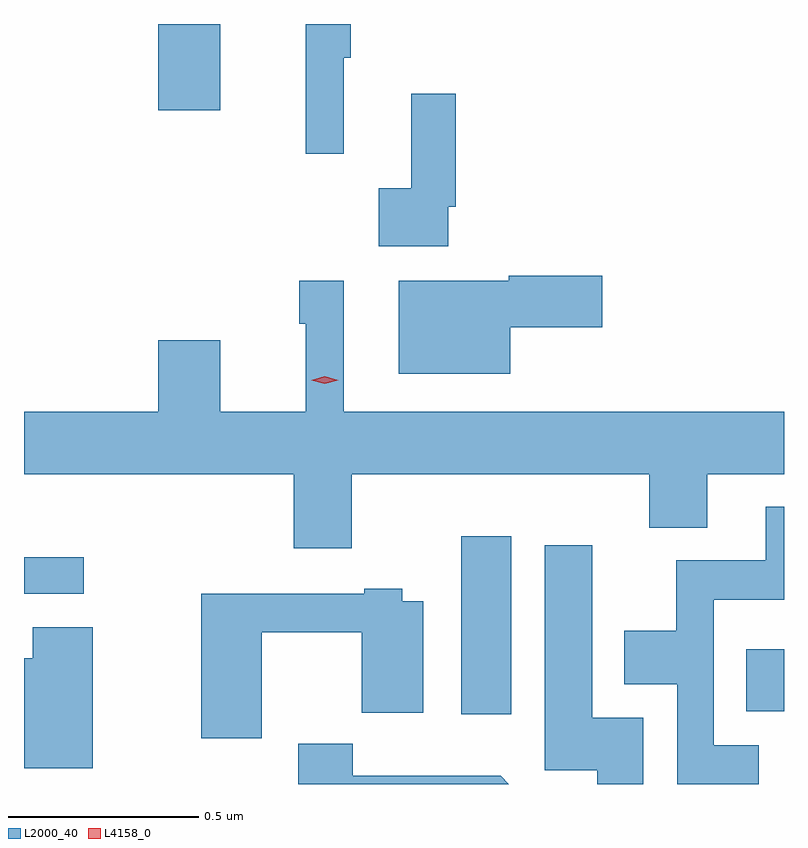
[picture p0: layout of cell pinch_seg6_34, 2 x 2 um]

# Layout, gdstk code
import gdstk
lib = gdstk.Library(unit=1e-6, precision=1e-09)
def R(c, l, rs):  # rectangles x0, y0, x1, y1
    for r in rs: c.add(gdstk.rectangle(r[:2], r[2:], *l))
def P(c, l, *ps):  # polygons
    for p in ps: c.add(gdstk.Polygon(p, *l))
L2000_40 = (2000, 40)
L4158_0 = (4158, 0)

pinch_seg6_34 = lib.new_cell('pinch_seg6_34')
R(pinch_seg6_34, L2000_40, [(969.002,960.024,969.133,960.493), (969.751,960.032,969.851,960.196), (967.851,960.342,968.008,960.438), (968.204,961.614,968.368,961.841)])
P(pinch_seg6_34, L2000_40, [(968.693,961.752),(968.711,961.752),(968.711,961.841),(968.593,961.841),(968.593,961.5),(968.693,961.5)],
  [(968.967,961.36),(968.987,961.36),(968.987,961.657),(968.87,961.657),(968.87,961.409),(968.784,961.409),(968.784,961.256),(968.967,961.256)],
  [(969.13,961.043),(969.373,961.043),(969.373,961.178),(969.126,961.178),(969.126,961.165),(968.837,961.165),(968.837,960.92),(969.13,960.92)],
  [(968.713,960.656),(969.497,960.656),(969.497,960.515),(969.649,960.515),(969.649,960.656),(969.851,960.656),(969.851,960.82),(968.692,960.82),(968.692,961.165),(968.575,961.165),(968.575,961.052),(968.593,961.052),(968.593,960.82),(968.368,960.82),(968.368,961.009),(968.204,961.009),(968.204,960.82),(967.851,960.82),(967.851,960.656),(968.561,960.656),(968.561,960.462),(968.713,960.462)],
  [(969.784,959.943),(969.666,959.943),(969.666,960.326),(969.851,960.326),(969.851,960.571),(969.803,960.571),(969.803,960.43),(969.568,960.43),(969.568,960.244),(969.431,960.244),(969.431,960.104),(969.57,960.104),(969.57,959.841),(969.784,959.841)],
  [(969.481,960.016),(969.346,960.016),(969.346,960.469),(969.221,960.469),(969.221,959.877),(969.359,959.877),(969.359,959.841),(969.481,959.841)],
  [(968.476,960.241),(968.74,960.241),(968.74,960.029),(968.902,960.029),(968.902,960.322),(968.847,960.322),(968.847,960.355),(968.747,960.355),(968.747,960.342),(968.318,960.342),(968.318,959.961),(968.476,959.961)],
  [(968.032,960.253),(967.874,960.253),(967.874,960.172),(967.851,960.172),(967.851,959.882),(968.032,959.882)],
  [(969.105,959.863),(968.716,959.863),(968.716,959.947),(968.573,959.947),(968.573,959.841),(969.127,959.841)])
P(pinch_seg6_34, L4158_0, [(968.642,960.894),(968.607,960.903),(968.607,960.904),(968.607,960.904),(968.642,960.914),(968.678,960.904),(968.678,960.904),(968.678,960.903)])

lib.write_gds('pinch_seg6_34.gds')
